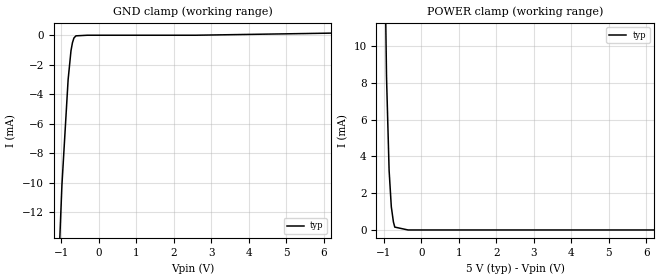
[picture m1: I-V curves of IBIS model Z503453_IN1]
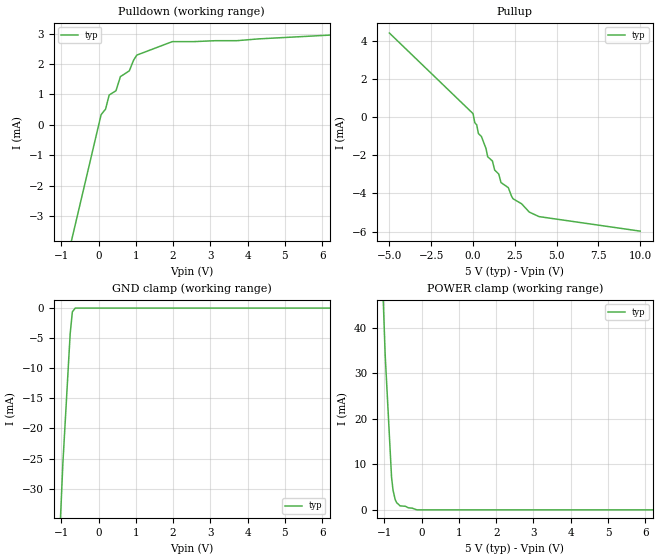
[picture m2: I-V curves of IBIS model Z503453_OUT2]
| YOU ARE ONLY AUTHORIZED TO USE THIS SOFTWARE
| ACCORDING TO LICENSOR'S LICENSE RESTRICTIONS.
[IBIS Ver] 3.1
[File Name] mc14001bcl.ibs
[File Rev] 2.0
[Source] Measured and created by ICX Technology
[Date] Friday 7/14/00 9:07:50 AM
[Copyright]
| (C) COPYRIGHT 1993-2000
| MENTOR GRAPHICS CORPORATION
| ICX STANDARD LIBRARY, ICX PROJECT MODELING,
| ICX CUSTOM MODELING, ICX VENDOR MODEL
| ALL RIGHTS RESERVED.
| THE FOLLOWING ARE TRADEMARKS OR SERVICE MARKS OF
| MENTOR GRAPHICS CORPORATION:ICX (R), ICX STANDARD
| LIBRARY(R), ICX PROJECT MODELING(R), ICX CUSTOM
| MODELING(R), qualityIBIS(TM), MODELVIEWER(TM),
| AND MODELEDITOR(TM)
| ALL COPIES OF SOFTWARE, INCLUDING BUT NOT LIMITED TO
| ANY MODIFICATIONS, ENHANCEMENTS OR DERIVATIVE WORKS,
| MUST CONTAIN ALL MENTOR GRAPHICS CORPORATION'S
| NOTICES AND LEGENDS, INCLUDING THOSE EMBEDDED IN
| SOFTWARE AND THOSE AFFIXED TO SOFTWARE MEDIUM
| AND CONTAINER, AS RECEIVED FROM MENTOR GRAPHICS
| CORPORATION.
|  ZAP Model Builder 2.7
[Component] MC14001BCL
[Manufacturer] OnSemiconductor
[Package]
| variable   typ   min   max
R_pkg  .155ohms NA NA
L_pkg  3.028nH NA NA
C_pkg  .381pF NA NA
[Pin] signal_name  model_name  R_pin  L_pin C_pin
1 IN1A Z503453_IN1 .16 3.587n .407p
2 IN2A Z503453_IN1 .156 3.147n .387p
3 OUTA Z503453_OUT2 .152 2.717n .367p
4 OUTB Z503453_OUT2 .148 2.297n .347p
5 IN1B Z503453_IN1 .152 2.717n .367p
6 IN2B Z503453_IN1 .156 3.147n .387p
7 VSS POWER .16 3.587n .407p
8 IN1C Z503453_IN1 .16 3.587n .407p
9 IN2C Z503453_IN1 .156 3.147n .387p
10 OUTC Z503453_OUT2 .152 2.717n .367p
11 OUTD Z503453_OUT2 .148 2.297n .347p
12 IN1D Z503453_IN1 .152 2.717n .367p
13 IN2D Z503453_IN1 .156 3.147n .387p
14 VDD POWER .16 3.587n .407p
| Models and submodels in the file (2): Z503453_IN1 (Input), Z503453_OUT2 (Output)
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| (C) COPYRIGHT 1993-2000
| MENTOR GRAPHICS CORPORATION
| ICX STANDARD LIBRARY, ICX PROJECT MODELING,
| ICX CUSTOM MODELING, ICX VENDOR MODEL
| ALL RIGHTS RESERVED.
| THE FOLLOWING ARE TRADEMARKS OR SERVICE MARKS OF
| MENTOR GRAPHICS CORPORATION:ICX (R), ICX STANDARD
| LIBRARY(R), ICX PROJECT MODELING(R), ICX CUSTOM
| MODELING(R), qualityIBIS(TM), MODELVIEWER(TM),
| AND MODELEDITOR(TM)
| ALL COPIES OF SOFTWARE, INCLUDING BUT NOT LIMITED TO
| ANY MODIFICATIONS, ENHANCEMENTS OR DERIVATIVE WORKS,
| MUST CONTAIN ALL MENTOR GRAPHICS CORPORATION'S
| NOTICES AND LEGENDS, INCLUDING THOSE EMBEDDED IN
| SOFTWARE AND THOSE AFFIXED TO SOFTWARE MEDIUM
| AND CONTAINER, AS RECEIVED FROM MENTOR GRAPHICS
| CORPORATION.
| Model Application Version 1.89 2/18/99.
[Model] Z503453_IN1
Model_type Input
Vinl = 1.500V
Vinh = 3.500V
C_comp 4.000pF NA NA
| variable typ   min   max
[Voltage Range] 5.000V NA NA
[GND Clamp Reference] 0.000V NA NA
[POWER Clamp Reference] 5.000V NA NA
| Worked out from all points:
|   GND clamp passes 1 mA (typ) near -0.74 V on its own axis
|   POWER clamp passes 1 mA (typ) near -0.78 V on its own axis
[GND Clamp]
-5V       -378.4mA   NA         NA
-1.094V   -17.19mA   NA         NA
-984mV    -10.17mA   NA         NA
-818.8mV  -3.003mA   NA         NA
-741.9mV  -1.031mA   NA         NA
-703mV    -489.5uA   NA         NA
-664.4mV  -176.8uA   NA         NA
-610.2mV  -26.53uA   NA         NA
-305.1mV  15.09uA    NA         NA
2.581V    15.09uA    NA         NA
10V       307.9uA    NA         NA
[POWER Clamp]
-5V       921.6mA    NA         NA
-1.016V   21.3mA     NA         NA
-928mV    8.325mA    NA         NA
-859mV    3.237mA    NA         NA
-800mV    1.258mA    NA         NA
-744mV    435.4uA    NA         NA
-708mV    156.4uA    NA         NA
-354mV    0A         NA         NA
10V       0A         NA         NA
| (C) COPYRIGHT 1993-2000
| MENTOR GRAPHICS CORPORATION
| ICX STANDARD LIBRARY, ICX PROJECT MODELING,
| ICX CUSTOM MODELING, ICX VENDOR MODEL
| ALL RIGHTS RESERVED.
| THE FOLLOWING ARE TRADEMARKS OR SERVICE MARKS OF
| MENTOR GRAPHICS CORPORATION:ICX (R), ICX STANDARD
| LIBRARY(R), ICX PROJECT MODELING(R), ICX CUSTOM
| MODELING(R), qualityIBIS(TM), MODELVIEWER(TM),
| AND MODELEDITOR(TM)
| ALL COPIES OF SOFTWARE, INCLUDING BUT NOT LIMITED TO
| ANY MODIFICATIONS, ENHANCEMENTS OR DERIVATIVE WORKS,
| MUST CONTAIN ALL MENTOR GRAPHICS CORPORATION'S
| NOTICES AND LEGENDS, INCLUDING THOSE EMBEDDED IN
| SOFTWARE AND THOSE AFFIXED TO SOFTWARE MEDIUM
| AND CONTAINER, AS RECEIVED FROM MENTOR GRAPHICS
| CORPORATION.
| Model Application Version 1.89 2/18/99.
[Model] Z503453_OUT2
Model_type Output
Vref=0.000V
Rref=500.0Mohms
Cref=50.00pF
Vmeas=2.500V
C_comp 8.000pF NA NA
| variable typ   min   max
[Voltage Range] 5.000V NA NA
[POWER Clamp Reference] 5.000V NA NA
[Pullup Reference] 5.000V NA NA
[Pulldown Reference] 0.000V NA NA
[GND Clamp Reference] 0.000V NA NA
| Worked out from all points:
|   slope of the pulldown table from 0 to 0.75 V, typ, clamps not added: 431 ohm
|   slope of the pullup table from 0 to 0.75 V, typ, clamps not added: 424 ohm
|   GND clamp passes 1 mA (typ) near -0.71 V on its own axis
|   POWER clamp passes 1 mA (typ) near -0.59 V on its own axis
[GND Clamp]
-5V       -744.8mA   NA         NA
-1.112V   -47.76mA   NA         NA
-957mV    -25.79mA   NA         NA
-761.8mV  -4.293mA   NA         NA
-703mV    -628.2uA   NA         NA
-624.9mV  0A         NA         NA
10V       0A         NA         NA
[Pulldown]
-5V       -26.1mA    NA         NA
68.13mV   332.2uA    NA         NA
188.6mV   518.4uA    NA         NA
284.5mV   980.6uA    NA         NA
467mV     1.121mA    NA         NA
586.3mV   1.585mA    NA         NA
825mV     1.775mA    NA         NA
941.9mV   2.131mA    NA         NA
1.025V    2.292mA    NA         NA
1.978V    2.736mA    NA         NA
3.714V    2.767mA    NA         NA
10V       3.197mA    NA         NA
[Pullup]
-5V       4.413mA    NA         NA
5mV       185uA      NA         NA
324mV     -855.4uA   NA         NA
504mV     -1.011mA   NA         NA
879mV     -2.076mA   NA         NA
1.162V    -2.296mA   NA         NA
1.297V    -2.771mA   NA         NA
1.676V    -3.43mA    NA         NA
2.113V    -3.695mA   NA         NA
2.396V    -4.279mA   NA         NA
3.369V    -4.979mA   NA         NA
10V       -5.977mA   NA         NA
[POWER Clamp]
-5V       1.16A      NA         NA
-1.152V   74.8mA     NA         NA
-977mV    34.13mA    NA         NA
-806mV    7.208mA    NA         NA
-766mV    4.324mA    NA         NA
-708mV    2.249mA    NA         NA
-670mV    1.593mA    NA         NA
-576mV    875.2uA    NA         NA
-434mV    786.2uA    NA         NA
-352mV    439.4uA    NA         NA
-127mV    0A         NA         NA
10V       0A         NA         NA
[Ramp]
| variable typ min max
dV/dt_r 2.524/20.05n NA NA
dV/dt_f 2.524/14.40n NA NA
R_load = 2.500kOhms
